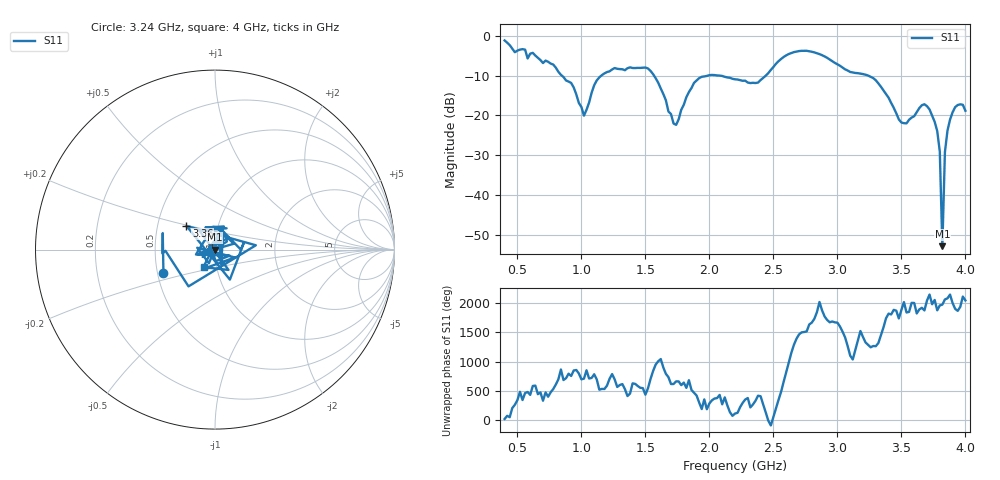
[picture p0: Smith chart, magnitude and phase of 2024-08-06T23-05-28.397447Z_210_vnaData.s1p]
!Created with skrf (http://scikit-rf.org).
# Hz S RI R 50.0
!freq ReS11 ImS11
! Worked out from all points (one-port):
!   181 points, 400 MHz to 4 GHz, reference 50 ohm
!   lowest |S11| = -52.8 dB at 3.82 GHz (marker M1), VSWR 1.00, Z = 49.8 + j0.0505 ohm
!   |S11| at or under -10 dB: 1.567 GHz to 1.989 GHz (422 MHz wide, 23.7 % of centre); 2.076 GHz to 2.441 GHz (364.9 MHz wide, 16.2 % of centre); 3.24 GHz to end of sweep (the widest 3 of 4)
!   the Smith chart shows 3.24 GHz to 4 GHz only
!   S11 on the Smith chart (normalised r, x): 3.24 GHz: 0.54, -0.16; 3.36 GHz: 0.70, +0.19; 4 GHz: 0.87, -0.17
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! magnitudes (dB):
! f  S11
! 400 MHz  -1.2
! 860 MHz  -10.4
! 940 MHz  -13.0
! 1.02 GHz  -20.1
! 1.12 GHz  -11.2
! 1.3 GHz  -8.4
! 1.52 GHz  -8.2
! 1.6 GHz  -11.8
! 1.72 GHz  -22.0
! 1.76 GHz  -21.0
! 1.92 GHz  -10.6
! 2.2 GHz  -10.9
! 2.38 GHz  -11.8
! 2.66 GHz  -4.1
! 2.86 GHz  -4.6
! 3.1 GHz  -9.1
! 3.24 GHz  -10.0
! 3.36 GHz  -13.7
! 3.5 GHz  -21.8
! 3.56 GHz  -21.1
! 3.68 GHz  -17.2
! 3.78 GHz  -23.9
! 3.8 GHz  -29.0
! 3.82 GHz  -52.8
! 3.84 GHz  -29.2
! 3.86 GHz  -23.8
! 3.92 GHz  -17.9
! 4 GHz  -18.8
